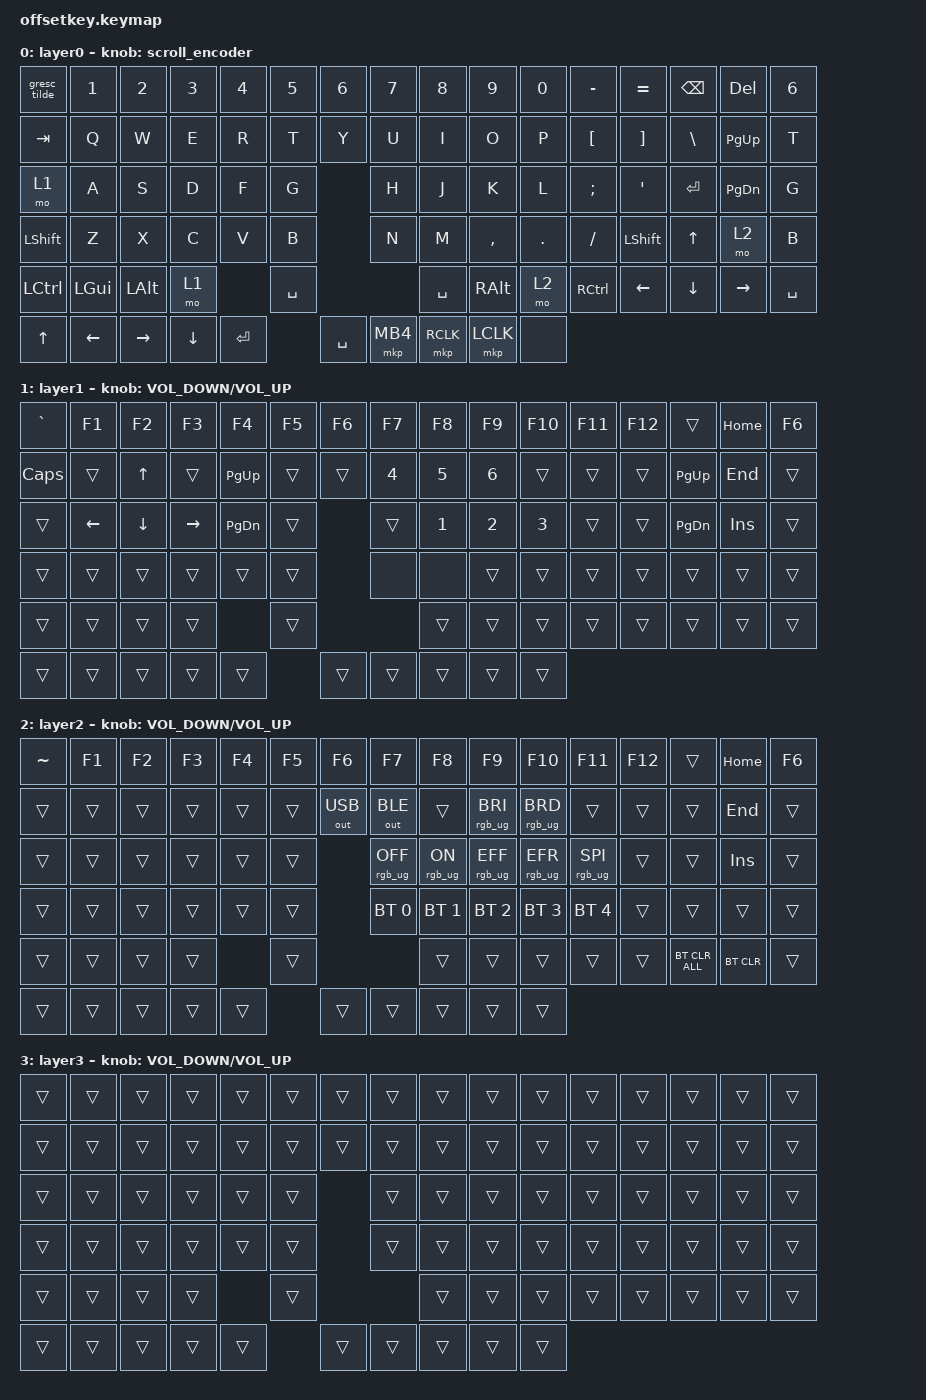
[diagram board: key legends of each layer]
#define BASE 0
#define LOWER 1
#define MOUSE_KEYS 2
#define MOUSE_TP 3
#define MOUSE_TP_SET 4

#include <zephyr/dt-bindings/input/input-event-codes.h>
#include <behaviors/toggle_io.dtsi>
#include <behaviors/on_io.dtsi>
#include <behaviors/off_io.dtsi>
#include <input/processors.dtsi>
#include <behaviors.dtsi>
#include <dt-bindings/zmk/bt.h>
#include <dt-bindings/zmk/keys.h>
#include <dt-bindings/zmk/outputs.h>
#include <dt-bindings/zmk/pointing.h>
#include <dt-bindings/zmk/rgb.h>

#define ZMK_POINTING_DEFAULT_MOVE_VAL 1200  // 600
#define ZMK_POINTING_DEFAULT_SCRL_VAL 20

&mmv_input_listener { input-processors = <&zip_xy_scaler 2 1>; };

&msc_input_listener { input-processors = <&zip_scroll_scaler 2 1>; };

&msc {
    acceleration-exponent = <1>;      // 0
    time-to-max-speed-ms = <100>;       // 300
    delay-ms = <0>;                   // 0
};

&mmv {
    time-to-max-speed-ms = <500>;
    acceleration-exponent = <1>;
    trigger-period-ms = <16>;
};

/ {
    scroll_encoder: scroll_encoder {
        compatible = "zmk,behavior-sensor-rotate";
        #sensor-binding-cells = <0>;
        bindings = <&msc SCRL_UP>, <&msc SCRL_DOWN>;

        tap-ms = <100>;
    };

    behaviors {
        ltq: ltq {
            compatible = "zmk,behavior-hold-tap";
            label = "LTQ";
            bindings = <&mo>, <&kp>;

            #binding-cells = <2>;
            tapping-term-ms = <200>;
            quick-tap-ms = <180>;
        };

        gresc_tilde: gresc_tilde {
            compatible = "zmk,behavior-mod-morph";
            #binding-cells = <0>;
            bindings = <&kp ESC>, <&kp TILDE>;
            mods = <(MOD_LSFT|MOD_RSFT)>;
        };
    };

    combos {
        compatible = "zmk,combos";

        flash {
            bindings = <&bootloader>;
            key-positions = <0 11>;
        };
    };

    keymap {
        compatible = "zmk,keymap";

        BASE {
            bindings = <
&gresc_tilde  &kp N1          &kp N2           &kp N3          &kp N4     &kp N5     &kp N6      &kp N7     &kp N8     &kp N9         &kp N0   &kp MINUS  &kp EQUAL  &kp BSPC      &kp DELETE                       &kp NUMBER_6
&kp TAB       &kp Q           &kp W            &kp E           &kp R      &kp T                  &kp Y      &kp U      &kp I          &kp O    &kp P      &kp LBKT   &kp RBKT      &kp BSLH         &kp PG_UP  &kp T
&mo 1         &kp A           &kp S            &kp D           &kp F      &kp G                  &kp H      &kp J      &kp K          &kp L    &kp SEMI   &kp APOS   &kp ENTER     &kp PG_DN                  &kp G
&kp LSHFT     &kp Z           &kp X            &kp C           &kp V      &kp B                  &kp N      &kp M      &kp COMMA      &kp DOT  &kp FSLH   &kp LSHFT  &kp UP_ARROW  &mo 2                       &kp B
&kp LCTRL     &kp LEFT_GUI    &kp LEFT_ALT     &mo 1                      &kp SPACE                         &kp SPACE  &kp RIGHT_ALT  &mo 2    &kp RCTRL  &kp LEFT   &kp DOWN      &kp RIGHT                        &kp SPACE
&kp UP_ARROW  &kp LEFT_ARROW  &kp RIGHT_ARROW  &kp DOWN_ARROW  &kp ENTER  &kp SPACE              &mkp MB4  &mkp RCLK  &mkp LCLK      &none
            >;

            label = "layer0";
            sensor-bindings = <&scroll_encoder>;
        };

        layer_1 {
            bindings = <
&kp GRAVE  &kp F1  &kp F2  &kp F3  &kp F4  &kp F5  &kp F6      &kp F7  &kp F8        &kp F9        &kp F10       &kp F11  &kp F12  &trans     &kp HOME             &kp F6
&kp CAPS   &trans  &kp UP_ARROW  &trans  &kp PG_UP  &trans              &trans  &kp NUMBER_4  &kp NUMBER_5  &kp NUMBER_6  &trans   &trans   &trans     &kp PG_UP   &kp END  &trans
&trans     &kp LEFT_ARROW  &kp DOWN_ARROW  &kp RIGHT_ARROW  &kp PG_DN  &trans              &trans  &kp NUMBER_1  &kp NUMBER_2  &kp NUMBER_3  &trans   &trans   &kp PG_DN  &kp INSERT           &trans
&trans     &trans  &trans  &trans  &trans  &trans              &none   &none         &trans        &trans        &trans   &trans   &trans     &trans               &trans
&trans     &trans  &trans  &trans          &trans                      &trans        &trans        &trans        &trans   &trans   &trans     &trans               &trans
&trans     &trans  &trans  &trans  &trans  &trans              &trans  &trans        &trans        &trans
            >;

            label = "layer1";
            sensor-bindings = <&inc_dec_kp C_VOLUME_DOWN C_VOLUME_UP>;
        };

        layer_2 {
            bindings = <
&kp TILDE  &kp F1  &kp F2  &kp F3  &kp F4  &kp F5  &kp F6      &kp F7           &kp F8          &kp F9           &kp F10          &kp F11          &kp F12  &trans          &kp HOME             &kp F6
&trans     &trans  &trans  &trans  &trans  &trans              &out OUT_USB     &out OUT_BLE    &trans           &rgb_ug RGB_BRI  &rgb_ug RGB_BRD  &trans   &trans          &trans      &kp END  &trans
&trans     &trans  &trans  &trans  &trans  &trans              &rgb_ug RGB_OFF  &rgb_ug RGB_ON  &rgb_ug RGB_EFF  &rgb_ug RGB_EFR  &rgb_ug RGB_SPI  &trans   &trans          &kp INSERT           &trans
&trans     &trans  &trans  &trans  &trans  &trans              &bt BT_SEL 0     &bt BT_SEL 1    &bt BT_SEL 2     &bt BT_SEL 3     &bt BT_SEL 4     &trans   &trans          &trans               &trans
&trans     &trans  &trans  &trans          &trans                               &trans          &trans           &trans           &trans           &trans   &bt BT_CLR_ALL  &bt BT_CLR           &trans
&trans     &trans  &trans  &trans  &trans  &trans              &trans           &trans          &trans           &trans
            >;

            label = "layer2";
            sensor-bindings = <&inc_dec_kp C_VOLUME_DOWN C_VOLUME_UP>;
        };

        layer_3 {
            bindings = <
&trans  &trans  &trans  &trans  &trans  &trans  &trans      &trans  &trans  &trans  &trans  &trans  &trans  &trans  &trans          &trans
&trans  &trans  &trans  &trans  &trans  &trans              &trans  &trans  &trans  &trans  &trans  &trans  &trans  &trans  &trans  &trans
&trans  &trans  &trans  &trans  &trans  &trans              &trans  &trans  &trans  &trans  &trans  &trans  &trans  &trans          &trans
&trans  &trans  &trans  &trans  &trans  &trans              &trans  &trans  &trans  &trans  &trans  &trans  &trans  &trans          &trans
&trans  &trans  &trans  &trans          &trans                      &trans  &trans  &trans  &trans  &trans  &trans  &trans          &trans
&trans  &trans  &trans  &trans  &trans  &trans              &trans  &trans  &trans  &trans
            >;

            label = "layer3";
            sensor-bindings = <&inc_dec_kp C_VOLUME_DOWN C_VOLUME_UP>;
        };
    };
};
